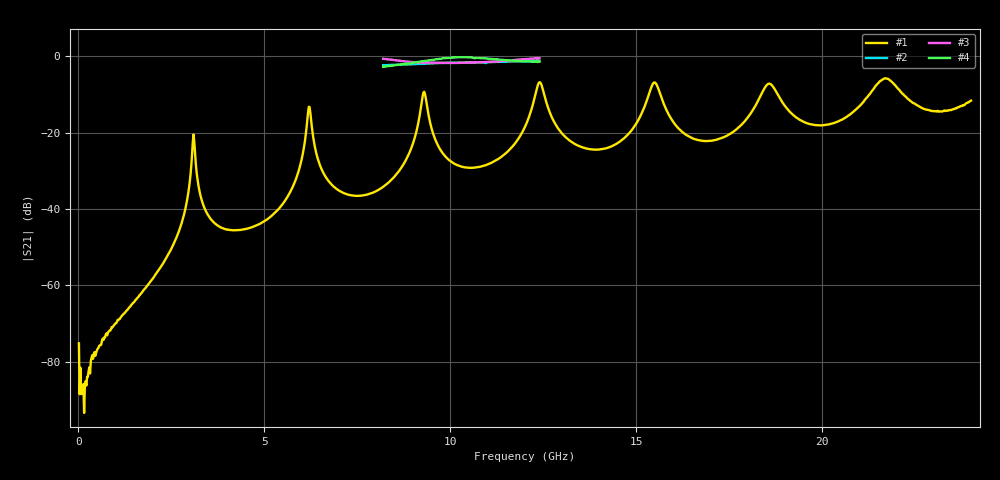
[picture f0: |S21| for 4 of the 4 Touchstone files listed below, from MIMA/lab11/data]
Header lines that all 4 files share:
#  HZ  S  MA  R  50.00
! Rohde & Schwarz ZVA67 4Ports - Version 4.11 - 1305.7002k04 SN: 101051
! Measurements: S11 S21 S12 S22
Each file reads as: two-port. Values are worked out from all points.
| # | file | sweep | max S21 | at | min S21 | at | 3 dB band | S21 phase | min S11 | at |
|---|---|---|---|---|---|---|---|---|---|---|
| 1 | primkovy_rezonator.s2p | 20 MHz to 24 GHz | -5.73 dB | 21.7 GHz | -93.4 dB | 160 MHz | 21.38 GHz-22.06 GHz | 134 deg at 12.02 GHz | -31.5 dB | 21.6 GHz |
| 2 | R100_5mm.s2p | 8.2 GHz to 12.4 GHz | -1.11 dB | 12.4 GHz | -2.3 dB | 8.2 GHz | 8.2 GHz-12.4 GHz | -88 deg at 10.3 GHz | -6.5 dB | 12.4 GHz |
| 3 | R100_15mm.s2p | 8.2 GHz to 12.4 GHz | -0.44 dB | 12.4 GHz | -1.7 dB | 9.2 GHz | 8.2 GHz-12.4 GHz | 92 deg at 10.3 GHz | -11.7 dB | 12.4 GHz |
| 4 | R100_20mm.s2p | 8.2 GHz to 12.4 GHz | -0.22 dB | 10.33 GHz | -2.7 dB | 8.21 GHz | 8.2 GHz-12.4 GHz | 2 deg at 10.3 GHz | -33.2 dB | 10.35 GHz |
